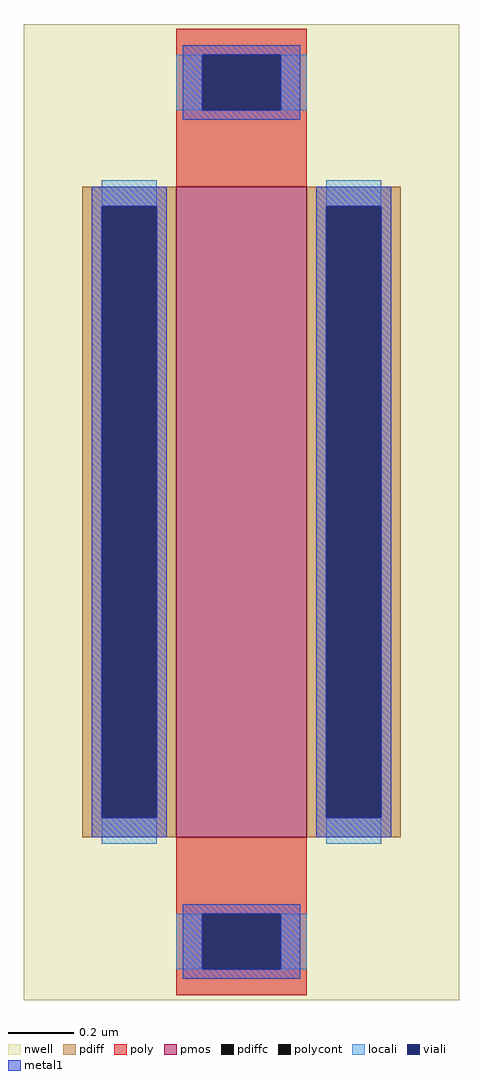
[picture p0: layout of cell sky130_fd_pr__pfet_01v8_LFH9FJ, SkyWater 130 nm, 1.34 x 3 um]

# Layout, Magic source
magic
tech sky130A
magscale 1 2
<< nwell >>
rect -134 -300 134 300
<< pmos >>
rect -40 -200 40 200
<< pdiff >>
rect -98 188 -40 200
rect -98 -188 -86 188
rect -52 -188 -40 188
rect -98 -200 -40 -188
rect 40 188 98 200
rect 40 -188 52 188
rect 86 -188 98 188
rect 40 -200 98 -188
<< pdiffc >>
rect -86 -188 -52 188
rect 52 -188 86 188
<< poly >>
rect -40 281 40 297
rect -40 247 -24 281
rect 24 247 40 281
rect -40 200 40 247
rect -40 -247 40 -200
rect -40 -281 -24 -247
rect 24 -281 40 -247
rect -40 -297 40 -281
<< polycont >>
rect -24 247 24 281
rect -24 -281 24 -247
<< locali >>
rect -40 247 -24 281
rect 24 247 40 281
rect -86 188 -52 204
rect -86 -204 -52 -188
rect 52 188 86 204
rect 52 -204 86 -188
rect -40 -281 -24 -247
rect 24 -281 40 -247
<< viali >>
rect -24 247 24 281
rect -86 -188 -52 188
rect 52 -188 86 188
rect -24 -281 24 -247
<< metal1 >>
rect -36 281 36 287
rect -36 247 -24 281
rect 24 247 36 281
rect -36 241 36 247
rect -92 188 -46 200
rect -92 -188 -86 188
rect -52 -188 -46 188
rect -92 -200 -46 -188
rect 46 188 92 200
rect 46 -188 52 188
rect 86 -188 92 188
rect 46 -200 92 -188
rect -36 -247 36 -241
rect -36 -281 -24 -247
rect 24 -281 36 -247
rect -36 -287 36 -281
<< properties >>
string gencell sky130_fd_pr__pfet_01v8
string library sky130
string parameters w 2 l 0.4 m 1 nf 1 diffcov 100 polycov 100 guard 0 glc 0 grc 0 gtc 0 gbc 0 tbcov 100 rlcov 100 topc 1 botc 1 poverlap 0 doverlap 1 lmin 0.15 wmin 0.42 compatible {sky130_fd_pr__pfet_01v8  sky130_fd_pr__pfet_01v8_lvt sky130_fd_pr__pfet_01v8_hvt  sky130_fd_pr__pfet_g5v0d10v5} full_metal 0 viasrc 100 viadrn 100 viagate 100 viagb 0 viagr 0 viagl 0 viagt 0
<< end >>
